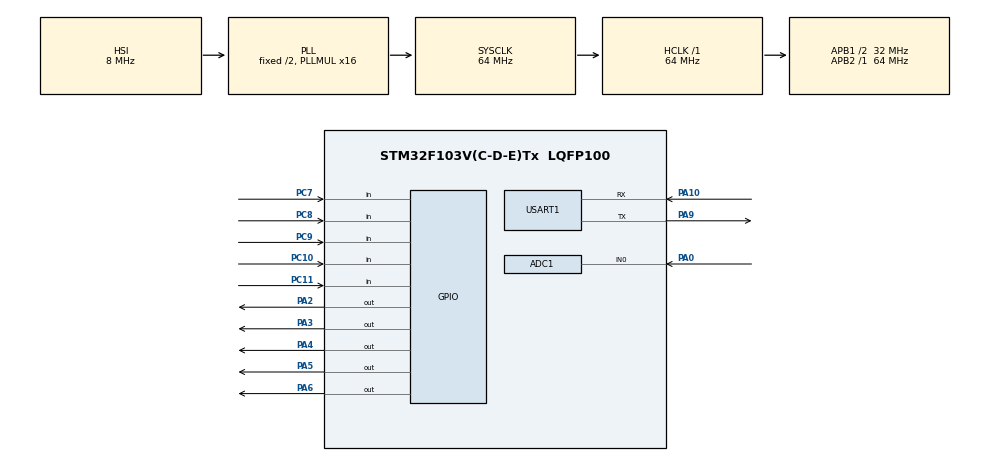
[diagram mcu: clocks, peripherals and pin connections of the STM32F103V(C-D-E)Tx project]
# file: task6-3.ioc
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ADC1.Channel-0\#ChannelRegularConversion=ADC_CHANNEL_0
ADC1.NbrOfConversionFlag=1
ADC1.Rank-0\#ChannelRegularConversion=1
ADC1.SamplingTime-0\#ChannelRegularConversion=ADC_SAMPLETIME_1CYCLE_5
ADC1.master=1
Mcu.Family=STM32F1
Mcu.Name=STM32F103V(C-D-E)Tx
Mcu.Package=LQFP100
NVIC.PriorityGroup=NVIC_PRIORITYGROUP_4
NVIC.USART1_IRQn=true\:0\:0\:false\:false\:true\:true\:true
OSC_IN.Mode=HSE-External-Oscillator
OSC_IN.Signal=RCC_OSC_IN
OSC_OUT.Mode=HSE-External-Oscillator
OSC_OUT.Signal=RCC_OSC_OUT
PA0-WKUP.Signal=ADCx_IN0
PA10.Mode=Asynchronous
PA10.Signal=USART1_RX
PA13.Mode=Serial_Wire
PA13.Signal=SYS_JTMS-SWDIO
PA14.Mode=Serial_Wire
PA14.Signal=SYS_JTCK-SWCLK
PA2.GPIO_PuPd=GPIO_NOPULL
PA2.GPIO_Speed=GPIO_SPEED_FREQ_HIGH
PA2.PinState=GPIO_PIN_SET
PA2.Signal=GPIO_Output
PA3.GPIO_PuPd=GPIO_NOPULL
PA3.GPIO_Speed=GPIO_SPEED_FREQ_HIGH
PA3.PinState=GPIO_PIN_SET
PA3.Signal=GPIO_Output
PA4.GPIO_PuPd=GPIO_NOPULL
PA4.GPIO_Speed=GPIO_SPEED_FREQ_HIGH
PA4.PinState=GPIO_PIN_SET
PA4.Signal=GPIO_Output
PA5.GPIO_PuPd=GPIO_NOPULL
PA5.GPIO_Speed=GPIO_SPEED_FREQ_HIGH
PA5.PinState=GPIO_PIN_SET
PA5.Signal=GPIO_Output
PA6.GPIO_PuPd=GPIO_NOPULL
PA6.GPIO_Speed=GPIO_SPEED_FREQ_HIGH
PA6.PinState=GPIO_PIN_SET
PA6.Signal=GPIO_Output
PA9.Mode=Asynchronous
PA9.Signal=USART1_TX
PC10.GPIO_PuPd=GPIO_PULLUP
PC10.Signal=GPIO_Input
PC11.GPIO_PuPd=GPIO_PULLUP
PC11.Signal=GPIO_Input
PC14-OSC32_IN.Mode=LSE-External-Oscillator
PC14-OSC32_IN.Signal=RCC_OSC32_IN
PC15-OSC32_OUT.Mode=LSE-External-Oscillator
PC15-OSC32_OUT.Signal=RCC_OSC32_OUT
PC7.GPIO_PuPd=GPIO_PULLUP
PC7.Signal=GPIO_Input
PC8.GPIO_PuPd=GPIO_PULLUP
PC8.Signal=GPIO_Input
PC9.GPIO_PuPd=GPIO_PULLUP
PC9.Signal=GPIO_Input
ProjectManager.HeapSize=0x200
ProjectManager.StackSize=0x400
ProjectManager.TargetToolchain=MDK-ARM V5.27
RCC.ADCPresc=RCC_ADCPCLK2_DIV6
RCC.AHBFreq_Value=64000000
RCC.APB1CLKDivider=RCC_HCLK_DIV2
RCC.APB1Freq_Value=32000000
RCC.APB1TimFreq_Value=64000000
RCC.APB2Freq_Value=64000000
RCC.APB2TimFreq_Value=64000000
RCC.HCLKFreq_Value=64000000
RCC.PLLMUL=RCC_PLL_MUL16
RCC.SYSCLKFreq_VALUE=64000000
RCC.SYSCLKSource=RCC_SYSCLKSOURCE_PLLCLK
RCC.USBFreq_Value=64000000
SH.ADCx_IN0.0=ADC1_IN0,IN0
USART1.VirtualMode=VM_ASYNC
board=custom

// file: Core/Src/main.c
/* USER CODE BEGIN Header */
/**
  ******************************************************************************
  * @file           : main.c
  * @brief          : Main program body
  ******************************************************************************
  * @attention
  *
  * <h2><center>&copy; Copyright (c) 2020 STMicroelectronics.
  * All rights reserved.</center></h2>
  *
  * This software component is licensed by ST under BSD 3-Clause license,
  * the "License"; You may not use this file except in compliance with the
  * License. You may obtain a copy of the License at:
  *                        opensource.org/licenses/BSD-3-Clause
  *
  ******************************************************************************
  */
/* USER CODE END Header */
#include "main.h"
#include "adc.h"
#include "usart.h"
#include "gpio.h"

/* USER CODE BEGIN Includes */
#include "trace.h"
#include "delay.h"
#include "key.h"
#include "led.h"
#include <stdio.h>
/* USER CODE END Includes */

/* USER CODE BEGIN PV */
static uint8_t flag=0;
ADC_ChannelConfTypeDef sConfig = {0};
u8 smg[17]={0xc0,0xf9,0xa4,0xb0,0x99,0x92,0x82,0xf8,\
0x80,0x90,0x88,0x83,0xc6,0xa1,0x86,0x8e};

uint8_t LED7Code[16]={0x3F,0X06,0X5B,0X4F,0X66,0X6D,0X7D,0X07,
	0X7F,0X6F,0X77,0X7C,0X39,0X5E,0X79,0X71};

/* USER CODE END PV */

void SystemClock_Config(void);
/* USER CODE BEGIN PFP */
u16 Get_Adc_Average(uint32_t channel,u8 times);
/* USER CODE END PFP */

/* USER CODE BEGIN 0 */
void HAL_GPIO_EXTI_Callback(uint16_t GPIO_Pin)
{
	//delay_ms(10);
	u1_printf("称重模式： ");
	if(HAL_GPIO_ReadPin(KEY2_GPIO_Port,GPIO_PIN_13) != RESET)
	{
		flag = (~flag )&0x01;
		if (flag) {
			u1_printf("kg mode !\n");
		} else {
			u1_printf("g mode !\n");
		}

	}
}

/* USER CODE END 0 */

int main(void)
{
  /* USER CODE BEGIN 1 */
	u16 adcvalue = 0;
	long press_value = 0;//原始重量
	u8 ge=0,shi=0,bai=0,qian=0;//数据
	float kg_value = 0;
	uint16_t temp_value = 0;
	int cnt = 0;

  /* USER CODE END 1 */

  /* MCU Configuration--------------------------------------------------------*/

  /* Reset of all peripherals, Initializes the Flash interface and the Systick. */
  HAL_Init();

  /* Configure the system clock */
  SystemClock_Config();

  /* Initialize all configured peripherals */
  MX_GPIO_Init();
  MX_USART1_UART_Init();
  MX_ADC1_Init();
  /* USER CODE BEGIN 2 */
	LED_Init();
	delay_init(72);
	u1_printf("system is running!!!\r\n");

  /* USER CODE END 2 */

  /* Infinite loop */
  /* USER CODE BEGIN WHILE */
  while (1)
  {
		//压力信号---数据

		if (cnt == 0){
			adcvalue = Get_Adc_Average(ADC_CHANNEL_0,5);
			press_value = adcvalue/4096.0 *500;//转换压力信号为0-500//  0-500g
		}
		cnt++;
		if (cnt == 10) cnt = 0;

    /* USER CODE BEGIN 3 */
		//输出段选
		ge = press_value%10;//取出个位

		HAL_GPIO_WritePin(GPIOB,GPIO_PIN_14,GPIO_PIN_SET);
		HAL_GPIO_WritePin(GPIOB,GPIO_PIN_12,GPIO_PIN_RESET);
		HAL_GPIO_WritePin(GPIOB,GPIO_PIN_13,GPIO_PIN_RESET);
		HAL_GPIO_WritePin(GPIOB,GPIO_PIN_11,GPIO_PIN_RESET);

		HAL_GPIO_WritePin(GPIOC,LED7Code[ge],GPIO_PIN_RESET);
		//GPIOC->ODR = smg[ge];
		HAL_Delay(10);
		HAL_GPIO_WritePin(GPIOC,0XFF,GPIO_PIN_SET);

		shi = press_value%100/10;//十位

		HAL_GPIO_WritePin(GPIOB,GPIO_PIN_13,GPIO_PIN_SET);
		HAL_GPIO_WritePin(GPIOB,GPIO_PIN_11,GPIO_PIN_RESET);
		HAL_GPIO_WritePin(GPIOB,GPIO_PIN_12,GPIO_PIN_RESET);
		HAL_GPIO_WritePin(GPIOB,GPIO_PIN_14,GPIO_PIN_RESET);

		HAL_GPIO_WritePin(GPIOC,LED7Code[shi],GPIO_PIN_RESET);
		//GPIOC->ODR = smg[shi];
		HAL_Delay(10);
		HAL_GPIO_WritePin(GPIOC,0XFF,GPIO_PIN_SET);

		bai = press_value%1000/100;//百位

		HAL_GPIO_WritePin(GPIOB,GPIO_PIN_12,GPIO_PIN_SET);
		HAL_GPIO_WritePin(GPIOB,GPIO_PIN_13,GPIO_PIN_RESET);
		HAL_GPIO_WritePin(GPIOB,GPIO_PIN_11,GPIO_PIN_RESET);
		HAL_GPIO_WritePin(GPIOB,GPIO_PIN_14,GPIO_PIN_RESET);

		HAL_GPIO_WritePin(GPIOC,LED7Code[bai],GPIO_PIN_RESET);
		//GPIOC->ODR = smg[bai];
		HAL_Delay(10);
		HAL_GPIO_WritePin(GPIOC,0XFF,GPIO_PIN_SET);

		qian = press_value%10000/1000;//千位 == 1kg

		HAL_GPIO_WritePin(GPIOB,GPIO_PIN_11,GPIO_PIN_SET);
		HAL_GPIO_WritePin(GPIOB,GPIO_PIN_12,GPIO_PIN_RESET);
		HAL_GPIO_WritePin(GPIOB,GPIO_PIN_13,GPIO_PIN_RESET);
		HAL_GPIO_WritePin(GPIOB,GPIO_PIN_14,GPIO_PIN_RESET);

		HAL_GPIO_WritePin(GPIOC,LED7Code[qian],GPIO_PIN_RESET);
		if (flag == 1 && qian == 0) {
				HAL_GPIO_WritePin(GPIOC,GPIO_PIN_7,GPIO_PIN_RESET);
		}

		//GPIOC->ODR = smg[qian];
		HAL_Delay(10);
		HAL_GPIO_WritePin(GPIOC,0XFF,GPIO_PIN_SET);

		if(flag == 0 && temp_value != press_value )
		{

			temp_value = press_value;
			u1_printf("称重传感器---重量值为 %d g\r\n",press_value);

		}

		if(flag == 1)
		{
			if(temp_value != press_value)
			{
				temp_value = press_value;
				kg_value = (float)press_value/1000;
				u1_printf("称重传感器---重量值为 %.3f kg\r\n",kg_value);
			}
		}
		HAL_Delay(1);
	}
  /* USER CODE END 3 */
}

void SystemClock_Config(void)
{
  RCC_OscInitTypeDef RCC_OscInitStruct = {0};
  RCC_ClkInitTypeDef RCC_ClkInitStruct = {0};
  RCC_PeriphCLKInitTypeDef PeriphClkInit = {0};

  /** Initializes the RCC Oscillators according to the specified parameters
  * in the RCC_OscInitTypeDef structure.
  */
  RCC_OscInitStruct.OscillatorType = RCC_OSCILLATORTYPE_HSI;
  RCC_OscInitStruct.HSIState = RCC_HSI_ON;
  RCC_OscInitStruct.HSICalibrationValue = RCC_HSICALIBRATION_DEFAULT;
  RCC_OscInitStruct.PLL.PLLState = RCC_PLL_ON;
  RCC_OscInitStruct.PLL.PLLSource = RCC_PLLSOURCE_HSI_DIV2;
  RCC_OscInitStruct.PLL.PLLMUL = RCC_PLL_MUL16;
  if (HAL_RCC_OscConfig(&RCC_OscInitStruct) != HAL_OK)
  {
    Error_Handler();
  }
  /** Initializes the CPU, AHB and APB buses clocks
  */
  RCC_ClkInitStruct.ClockType = RCC_CLOCKTYPE_HCLK|RCC_CLOCKTYPE_SYSCLK
                              |RCC_CLOCKTYPE_PCLK1|RCC_CLOCKTYPE_PCLK2;
  RCC_ClkInitStruct.SYSCLKSource = RCC_SYSCLKSOURCE_PLLCLK;
  RCC_ClkInitStruct.AHBCLKDivider = RCC_SYSCLK_DIV1;
  RCC_ClkInitStruct.APB1CLKDivider = RCC_HCLK_DIV2;
  RCC_ClkInitStruct.APB2CLKDivider = RCC_HCLK_DIV1;

  if (HAL_RCC_ClockConfig(&RCC_ClkInitStruct, FLASH_LATENCY_2) != HAL_OK)
  {
    Error_Handler();
  }
  PeriphClkInit.PeriphClockSelection = RCC_PERIPHCLK_ADC;
  PeriphClkInit.AdcClockSelection = RCC_ADCPCLK2_DIV6;
  if (HAL_RCCEx_PeriphCLKConfig(&PeriphClkInit) != HAL_OK)
  {
    Error_Handler();
  }
}

void Error_Handler(void)
{
}

u16 Get_Adc(uint32_t channel)
{
		/**Configure Regular Channel
		*/
		sConfig.Channel = channel;
		sConfig.Rank = ADC_REGULAR_RANK_1;
		sConfig.SamplingTime = ADC_SAMPLETIME_239CYCLES_5;
		if (HAL_ADC_ConfigChannel(&hadc1, &sConfig) != HAL_OK)
		{
			Error_Handler();
		}

	HAL_ADC_Start(&hadc1);                               //开启ADC

	HAL_ADC_PollForConversion(&hadc1,10);                //轮询转换

	return (u16)HAL_ADC_GetValue(&hadc1);
}

u16 Get_Adc_Average(uint32_t channel,u8 times)
{
	u32 temp_val=0;
	u8 t;
	for(t=0;t<times;t++)
	{
		temp_val+=Get_Adc(channel);
		HAL_Delay(5);
	}
	return temp_val/times;
}
/************************ (C) COPYRIGHT STMicroelectronics *****END OF FILE****/
